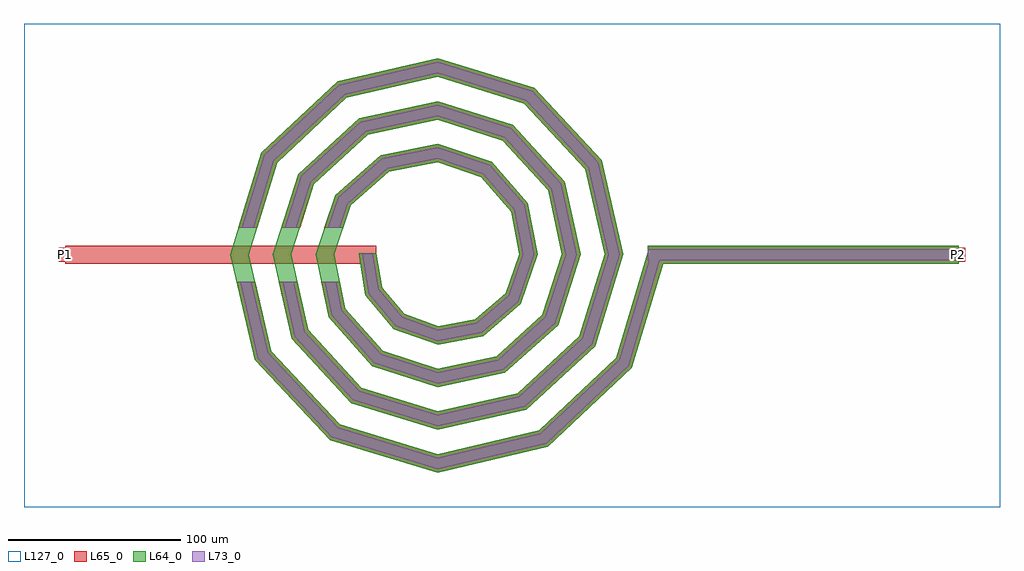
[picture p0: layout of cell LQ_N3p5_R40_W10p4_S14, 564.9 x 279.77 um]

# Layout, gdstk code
import gdstk
lib = gdstk.Library(unit=1e-6, precision=1e-09)
def R(c, l, rs):  # rectangles x0, y0, x1, y1
    for r in rs: c.add(gdstk.rectangle(r[:2], r[2:], *l))
def P(c, l, *ps):  # polygons
    for p in ps: c.add(gdstk.Polygon(p, *l))
L64_0 = (64, 0)
L65_0 = (65, 0)
L73_0 = (73, 0)
L127_0 = (127, 0)

lq_n3p5_r40_w10p4_s14 = lib.new_cell('LQ_N3p5_R40_W10p4_S14')
R(lq_n3p5_r40_w10p4_s14, L64_0, [(121.643,-5.2,301.643,5.2)])
P(lq_n3p5_r40_w10p4_s14, L64_0, [(-31.933,-18.996),(-19.203,-34.186),(0.442,-41.263),(22.026,-37.303),(39.498,-22.335),(47.429,0.391),(42.667,25.068),(25.457,44.817),(0.35,53.597),(-28.119,48.028),(-50.141,28.571),(-59.766,0.317),(-53.386,-31.177),(-31.681,-55.469),(0.289,-65.934),(34.239,-58.741),(60.799,-34.787),(72.104,0.266),(64.095,37.305),(37.889,66.132),(0.247,78.273),(-40.373,69.447),(-71.466,40.989),(-84.442,0.23),(-74.798,-43.444),(-44.087,-76.801),(0.215,-90.612),(46.517,-80.148),(82.138,-47.184),(96.782,0.202),(85.498,49.591),(50.279,87.475),(0.191,102.952),(-52.666,90.846),(-92.813,53.373),(-109.122,0.18),(-96.195,-55.743),(-56.467,-98.151),(0.171,-115.291),(58.82,-101.542),(103.49,-59.559),(121.863,1.498),(131.822,-1.498),(112.645,-65.227),(63.91,-111.031),(0.171,-126.054),(-62.149,-107.297),(-105.692,-60.817),(-119.883,0.18),(-101.949,59.072),(-57.723,100.353),(0.191,113.713),(55.996,96.6),(95.015,54.628),(107.542,0.202),(91.25,-52.921),(51.532,-89.677),(0.215,-101.372),(-49.848,-85.899),(-84.34,-48.434),(-95.201,0.23),(-80.547,46.776),(-45.335,79.004),(0.247,89.03),(43.706,75.194),(73.669,42.233),(82.859,0.266),(69.84,-40.638),(39.129,-68.336),(0.289,-76.688),(-37.573,-64.483),(-63.004,-36.021),(-70.516,0.317),(-59.124,34.513),(-32.908,57.675),(0.35,64.344),(31.457,53.761),(52.348,29.789),(58.172,0.391),(48.393,-28.409),(26.661,-47.026),(0.442,-51.998),(-25.37,-43.018),(-41.709,-23.521),(-45.586,0.877),(-35.335,0.877)])
R(lq_n3p5_r40_w10p4_s14, L65_0, [(-215.26,-5.2,-35.26,5.2), (121.643,-5.2,301.643,5.2), (-219.26,-4,-211.26,4), (297.643,-4,305.643,4)])
P(lq_n3p5_r40_w10p4_s14, L65_0, [(-96.195,-55.743),(-56.467,-98.151),(0.171,-115.292),(58.82,-101.542),(103.49,-59.559),(121.863,1.498),(131.822,-1.498),(112.646,-65.227),(63.91,-111.031),(0.171,-126.054),(-62.149,-107.297),(-105.692,-60.817),(-116.212,-15.6),(-105.534,-15.6)],
  [(-74.798,-43.444),(-44.087,-76.801),(0.215,-90.612),(46.517,-80.148),(82.138,-47.184),(96.782,0.202),(85.498,49.591),(50.279,87.475),(0.191,102.952),(-52.666,90.846),(-92.813,53.373),(-104.316,15.6),(-115.188,15.6),(-101.949,59.072),(-57.723,100.353),(0.191,113.713),(55.996,96.6),(95.015,54.628),(107.542,0.202),(91.25,-52.921),(51.532,-89.677),(0.215,-101.372),(-49.848,-85.899),(-84.34,-48.434),(-91.668,-15.6),(-81.012,-15.6)],
  [(-53.386,-31.177),(-31.681,-55.469),(0.289,-65.934),(34.239,-58.741),(60.799,-34.787),(72.104,0.266),(64.095,37.305),(37.889,66.132),(0.247,78.273),(-40.373,69.447),(-71.466,40.989),(-79.459,15.6),(-90.362,15.6),(-80.547,46.776),(-45.335,79.004),(0.247,89.03),(43.706,75.194),(73.669,42.233),(82.859,0.266),(69.84,-40.638),(39.129,-68.336),(0.289,-76.688),(-37.574,-64.483),(-63.004,-36.021),(-67.226,-15.6),(-56.606,-15.6)],
  [(-19.203,-34.186),(0.442,-41.263),(22.026,-37.303),(39.498,-22.335),(47.429,0.391),(42.667,25.068),(25.457,44.817),(0.35,53.597),(-28.119,48.028),(-50.141,28.571),(-54.463,15.6),(-65.425,15.6),(-59.124,34.513),(-32.908,57.675),(0.35,64.345),(31.457,53.761),(52.348,29.789),(58.172,0.391),(48.393,-28.409),(26.661,-47.026),(0.442,-51.998),(-25.37,-43.018),(-41.709,-23.521),(-45.586,0.878),(-35.335,0.878),(-31.933,-18.996)])
R(lq_n3p5_r40_w10p4_s14, L73_0, [(121.643,-3.2,301.643,3.2)])
P(lq_n3p5_r40_w10p4_s14, L73_0, [(-98.021,-56.718),(-57.559,-99.91),(0.105,-117.361),(59.799,-103.367),(105.251,-60.649),(123.779,0.922),(129.907,0.922),(110.885,-64.137),(62.931,-109.206),(0.105,-123.984),(-61.056,-105.539),(-103.865,-59.841),(-114.158,-15.6),(-107.588,-15.6)],
  [(-76.633,-44.404),(-45.195,-78.551),(0.132,-92.681),(47.481,-81.981),(83.89,-48.287),(98.851,0.124),(87.328,50.56),(51.379,89.23),(0.117,105.021),(-53.639,92.675),(-94.57,54.469),(-106.407,15.6),(-113.097,15.6),(-100.192,57.976),(-56.75,98.525),(0.117,111.643),(54.897,94.845),(93.185,53.659),(105.473,0.124),(89.498,-51.818),(50.567,-87.845),(0.132,-99.303),(-48.74,-84.15),(-82.505,-47.475),(-89.619,-15.6),(-83.061,-15.6)],
  [(-55.235,-32.108),(-32.814,-57.203),(0.178,-68.002),(35.179,-60.586),(62.538,-35.912),(74.172,0.164),(65.936,38.253),(39.008,67.875),(0.152,80.342),(-41.328,71.285),(-73.212,42.102),(-81.556,15.6),(-88.265,15.6),(-78.801,45.663),(-44.381,77.166),(0.152,86.961),(42.587,73.452),(71.828,41.286),(80.791,0.164),(68.101,-39.513),(38.189,-66.491),(0.178,-74.62),(-36.44,-62.75),(-61.154,-35.089),(-65.184,-15.6),(-58.648,-15.6)],
  [(-20.389,-35.884),(0.272,-43.327),(22.917,-39.173),(41.209,-23.503),(49.495,0.24),(44.529,25.976),(26.611,46.537),(0.215,55.664),(-29.04,49.883),(-51.869,29.714),(-56.571,15.6),(-63.317,15.6),(-57.396,33.37),(-31.987,55.82),(0.215,62.278),(30.303,52.041),(50.487,28.881),(56.106,0.24),(46.683,-27.241),(25.77,-45.156),(0.272,-49.934),(-24.184,-41.32),(-39.829,-22.651),(-43.614,0.54),(-37.306,0.54),(-33.813,-19.866)])
R(lq_n3p5_r40_w10p4_s14, L127_0, [(-239.26,-146.054,325.643,133.713)])
lq_n3p5_r40_w10p4_s14.add(gdstk.Label('P2', (301.643,0), layer=65, texttype=0))
lq_n3p5_r40_w10p4_s14.add(gdstk.Label('P1', (-215.26,0), layer=65, texttype=0))
lq_n3p5_r40_w10p4_s14.add(gdstk.Label('P2', (305.643,0), layer=145, texttype=0))
lq_n3p5_r40_w10p4_s14.add(gdstk.Label('P1', (-219.26,0), layer=145, texttype=0))

lib.write_gds('LQ_N3p5_R40_W10p4_S14.gds')
